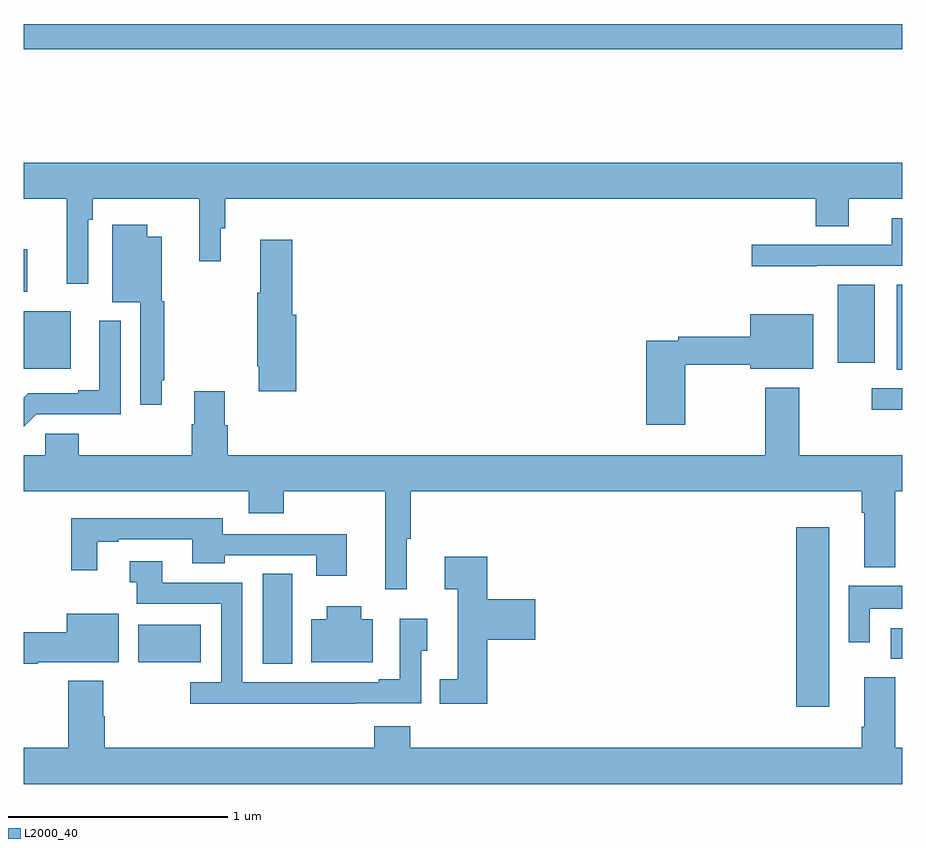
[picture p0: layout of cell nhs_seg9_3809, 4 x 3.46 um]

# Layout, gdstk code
import gdstk
lib = gdstk.Library(unit=1e-6, precision=1e-09)
def R(c, l, rs):  # rectangles x0, y0, x1, y1
    for r in rs: c.add(gdstk.rectangle(r[:2], r[2:], *l))
def P(c, l, *ps):  # polygons
    for p in ps: c.add(gdstk.Polygon(p, *l))
L2000_40 = (2000, 40)

nhs_seg9_3809 = lib.new_cell('nhs_seg9_3809')
R(nhs_seg9_3809, L2000_40, [(330.518,1243.392,330.667,1244.209), (328.088,1243.588,328.222,1243.997), (327.521,1243.595,327.805,1243.765), (330.948,1243.61,331,1243.75), (330.861,1244.744,331,1244.841), (330.974,1244.926,331,1245.314), (327,1244.93,327.214,1245.193), (330.707,1244.958,330.874,1245.314), (327,1245.282,327.017,1245.475), (327,1246.384,331,1246.5)])
P(nhs_seg9_3809, L2000_40, [(327.294,1245.608),(327.314,1245.608),(327.314,1245.704),(327.799,1245.704),(327.799,1245.42),(327.898,1245.42),(327.898,1245.57),(327.917,1245.57),(327.917,1245.704),(330.605,1245.704),(330.605,1245.58),(330.757,1245.58),(330.757,1245.704),(331,1245.704),(331,1245.868),(327,1245.868),(327,1245.704),(327.197,1245.704),(327.197,1245.318),(327.294,1245.318)],
  [(330.611,1245.399),(331,1245.399),(331,1245.615),(330.953,1245.615),(330.953,1245.495),(330.315,1245.495),(330.315,1245.397),(330.611,1245.397)],
  [(327.628,1244.878),(327.64,1244.878),(327.64,1245.237),(327.628,1245.237),(327.628,1245.532),(327.562,1245.532),(327.562,1245.586),(327.404,1245.586),(327.404,1245.233),(327.531,1245.233),(327.531,1244.766),(327.628,1244.766)],
  [(328.241,1245.177),(328.223,1245.177),(328.223,1245.517),(328.076,1245.517),(328.076,1245.277),(328.063,1245.277),(328.063,1244.941),(328.07,1244.941),(328.07,1244.829),(328.241,1244.829)],
  [(330.012,1244.949),(330.308,1244.949),(330.308,1244.93),(330.595,1244.93),(330.595,1245.178),(330.308,1245.178),(330.308,1245.077),(329.98,1245.077),(329.98,1245.057),(329.834,1245.057),(329.834,1244.676),(330.012,1244.676)],
  [(327.057,1244.724),(327.441,1244.724),(327.441,1245.148),(327.344,1245.148),(327.344,1244.833),(327.248,1244.833),(327.248,1244.82),(327.021,1244.82),(327,1244.799),(327,1244.667)],
  [(328.744,1244.157),(328.763,1244.157),(328.763,1244.372),(330.815,1244.372),(330.815,1244.276),(330.827,1244.276),(330.827,1244.027),(330.967,1244.027),(330.967,1244.372),(331,1244.372),(331,1244.536),(330.531,1244.536),(330.531,1244.845),(330.376,1244.845),(330.376,1244.536),(327.929,1244.536),(327.929,1244.673),(327.916,1244.673),(327.916,1244.827),(327.776,1244.827),(327.776,1244.678),(327.764,1244.678),(327.764,1244.536),(327.251,1244.536),(327.251,1244.634),(327.099,1244.634),(327.099,1244.536),(327,1244.536),(327,1244.372),(328.025,1244.372),(328.025,1244.273),(328.185,1244.273),(328.185,1244.372),(328.646,1244.372),(328.646,1243.926),(328.744,1243.926)],
  [(328.471,1244.178),(327.907,1244.178),(327.907,1244.25),(327.217,1244.25),(327.217,1244.013),(327.334,1244.013),(327.334,1244.142),(327.43,1244.142),(327.43,1244.154),(327.767,1244.154),(327.767,1244.045),(327.915,1244.045),(327.915,1244.082),(328.331,1244.082),(328.331,1243.989),(328.471,1243.989)],
  [(329.111,1243.697),(329.329,1243.697),(329.329,1243.88),(329.111,1243.88),(329.111,1244.074),(328.917,1244.074),(328.917,1243.927),(328.976,1243.927),(328.976,1243.516),(328.894,1243.516),(328.894,1243.406),(329.111,1243.406)],
  [(328.511,1243.407),(328.809,1243.407),(328.809,1243.647),(328.837,1243.647),(328.837,1243.792),(328.713,1243.792),(328.713,1243.516),(328.616,1243.516),(328.616,1243.503),(327.996,1243.503),(327.996,1243.956),(327.631,1243.956),(327.631,1244.055),(327.483,1244.055),(327.483,1243.958),(327.514,1243.958),(327.514,1243.86),(327.9,1243.86),(327.9,1243.503),(327.759,1243.503),(327.759,1243.406),(328.511,1243.406)],
  [(330.852,1243.838),(331,1243.838),(331,1243.942),(330.756,1243.942),(330.756,1243.686),(330.852,1243.686)],
  [(328.588,1243.789),(328.537,1243.789),(328.537,1243.849),(328.379,1243.849),(328.379,1243.789),(328.31,1243.789),(328.31,1243.595),(328.588,1243.595)],
  [(327.064,1243.595),(327.433,1243.595),(327.433,1243.816),(327.197,1243.816),(327.197,1243.73),(327,1243.73),(327,1243.588),(327.064,1243.588)],
  [(331,1243.204),(330.967,1243.204),(330.967,1243.525),(330.827,1243.525),(330.827,1243.3),(330.815,1243.3),(330.815,1243.204),(328.76,1243.204),(328.76,1243.303),(328.595,1243.303),(328.595,1243.204),(327.368,1243.204),(327.368,1243.349),(327.363,1243.349),(327.363,1243.51),(327.203,1243.51),(327.203,1243.204),(327,1243.204),(327,1243.04),(331,1243.04)])

lib.write_gds('nhs_seg9_3809.gds')
